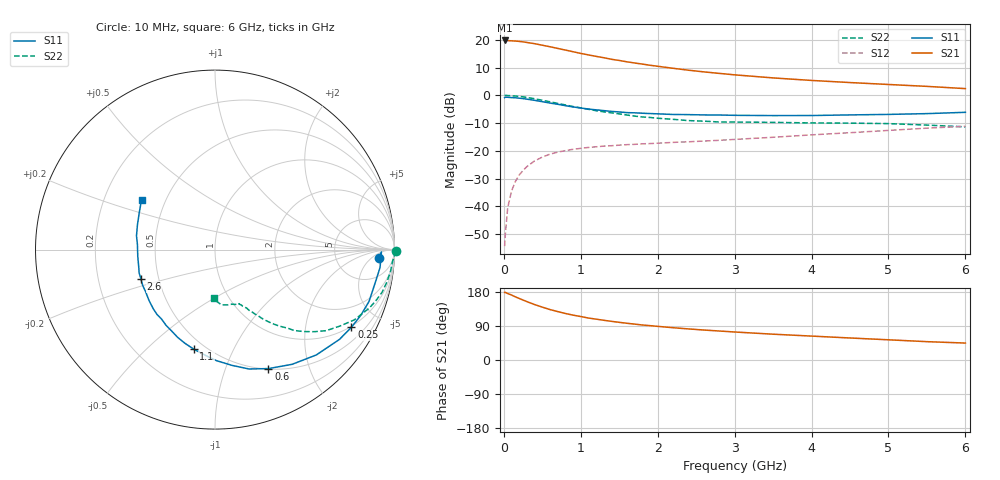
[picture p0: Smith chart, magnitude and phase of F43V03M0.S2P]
!  INFINEON TECHNOLOGIES Small Signal Semiconductors
! BFR360F , Si-NPN RF-Transistor T571A in TSFP3
!  Vce=3 V,  Ic=3 mA
! Common Emitter S-Parameters:  29. May 2001
#  GHz  S  MA  R  50
! f  S11  S21  S12  S22
! GHz  Mag  Ang  Mag  Ang  Mag  Ang  Mag  Ang
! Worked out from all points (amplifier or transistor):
!   36 points, 10 MHz to 6 GHz, reference 50 ohm
!   highest |S21| = 19.8 dB at 10 MHz (marker M1)
!   |S21| within 3 dB of that: start of sweep to 722 MHz
!   unconditionally stable (mu >= 1): 2.993 GHz to end of sweep
!   at 250 MHz: K = 0.10, MSG = 23.2 dB, |S12| = -27.1 dB
!   at 1.4 GHz: K = 0.59, MSG = 15.6 dB, |S12| = -18.2 dB
!   at 6 GHz: K = 1.06, MAG = 5.3 dB, |S12| = -11.2 dB
!   S11 on the Smith chart (normalised r, x): 10 MHz: 17, -9; 250 MHz: 0.96, -3.53; 600 MHz: 0.51, -1.42; 1.1 GHz: 0.44, -0.71; 2.6 GHz: 0.40, -0.16; 6 GHz: 0.37, +0.27
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0.01  0.9126 -2.8  9.801 178.3  0.0019 84.2  1.007 -0.5
0.02  0.9273 -0.8  9.72 178.4  0.0032 97.0  1.003 -1.6
0.05  0.9249 -6.2  9.728 175.4  0.0094 87.8  0.9917 -3.7
0.1  0.9115 -11.7  9.649 171.5  0.0188 84.0  0.985 -7.4
0.15  0.9055 -18.6  9.57 166.6  0.0279 80.2  0.9731 -11.0
0.25  0.8746 -29.7  9.237 158.2  0.0441 73.6  0.9395 -17.8
0.3  0.8552 -35.8  9.016 154.0  0.0519 71.3  0.9182 -20.9
0.4  0.8144 -46.1  8.575 146.3  0.0657 65.8  0.869 -26.8
0.5  0.7701 -56.1  8.044 139.5  0.077 61.5  0.8167 -31.4
0.6  0.7268 -65.8  7.544 133.1  0.087 57.8  0.7667 -36.1
0.8  0.6522 -81.6  6.575 122.8  0.1006 52.4  0.6723 -42.8
0.9  0.6185 -89.3  6.138 118.4  0.1064 50.3  0.629 -45.7
1.1  0.5666 -102.2  5.375 110.7  0.115 47.6  0.5604 -49.7
1.4  0.514 -118.0  4.482 102.0  0.1234 45.8  0.4838 -54.5
1.6  0.4883 -127.6  4.036 96.9  0.1291 45.3  0.4423 -56.8
1.8  0.4765 -136.1  3.672 92.4  0.1335 45.9  0.4081 -59.0
2.2  0.4526 -148.4  3.084 85.2  0.1418 47.5  0.3698 -61.6
2.6  0.4441 -158.5  2.655 79.1  0.1499 49.8  0.3428 -64.5
3.5  0.4319 -175.1  2.067 68.1  0.1754 56.2  0.3259 -69.7
4.5  0.4442 170.0  1.704 58.1  0.212 60.7  0.3156 -77.6
5.5  0.4687 154.3  1.454 48.4  0.2562 63.4  0.291 -87.6
6  0.4949 145.8  1.325 44.7  0.2766 64.2  0.2703 -90.6
